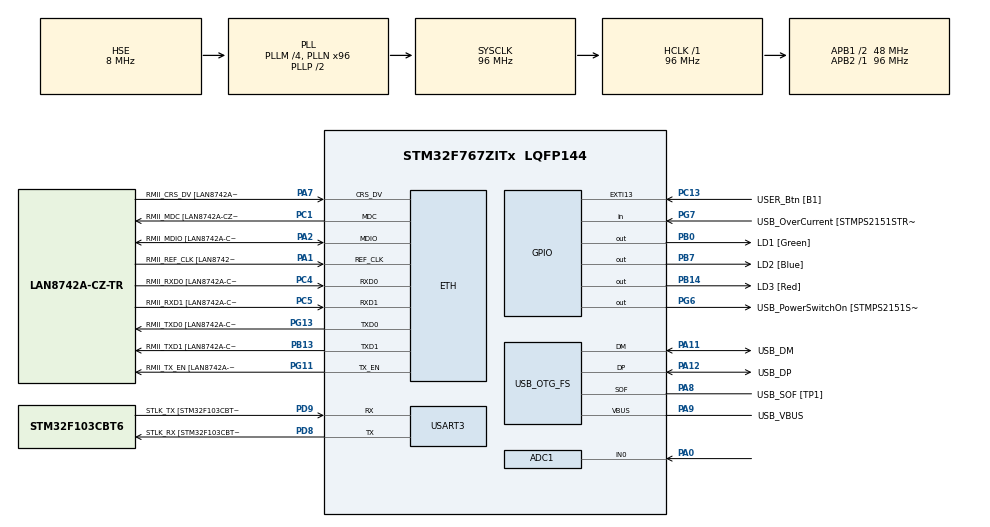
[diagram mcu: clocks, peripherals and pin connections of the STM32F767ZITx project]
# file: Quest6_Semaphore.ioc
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ADC1.Channel-0\#ChannelRegularConversion=ADC_CHANNEL_0
ADC1.NbrOfConversionFlag=1
ADC1.Rank-0\#ChannelRegularConversion=1
ADC1.SamplingTime-0\#ChannelRegularConversion=ADC_SAMPLETIME_3CYCLES
ADC1.master=1
ETH.MediaInterface=HAL_ETH_RMII_MODE
ETH.PHY_Name=LAN8742A_PHY_ADDRESS
ETH.PHY_Value=0
ETH.PhyAddress=0
FREERTOS.BinarySemaphores01=semStart,Dynamic,NULL,Depleted;semCalc,Dynamic,NULL,Depleted;semSave,Dynamic,NULL,Depleted;semSend,Dynamic,NULL,Depleted
FREERTOS.Tasks01=TaskADC,28,128,StartTaskADC,Default,NULL,Dynamic,NULL,NULL;TaskCalc,27,128,StartTaskCalc,Default,NULL,Dynamic,NULL,NULL;TaskSave,26,128,StartTaskSave,Default,NULL,Dynamic,NULL,NULL;TaskSend,25,128,StartTaskSend,Default,NULL,Dynamic,NULL,NULL
FREERTOS.configUSE_NEWLIB_REENTRANT=1
Mcu.Family=STM32F7
Mcu.Name=STM32F767ZITx
Mcu.Package=LQFP144
NVIC.EXTI15_10_IRQn=true\:5\:0\:false\:false\:true\:true\:true\:true\:true
NVIC.PriorityGroup=NVIC_PRIORITYGROUP_4
NVIC.TIM1_UP_TIM10_IRQn=true\:15\:0\:false\:false\:true\:false\:false\:true\:true
NVIC.TimeBase=TIM1_UP_TIM10_IRQn
NVIC.TimeBaseIP=TIM1
PA0/WKUP.Signal=ADCx_IN0
PA1.GPIO_Label=RMII_REF_CLK [LAN8742A-CZ-TR_REFCLK0]
PA1.Mode=RMII
PA1.Signal=ETH_REF_CLK
PA10.GPIO_Label=USB_ID
PA10.Signal=USB_OTG_FS_ID
PA11.GPIO_Label=USB_DM
PA11.Mode=Device_Only
PA11.Signal=USB_OTG_FS_DM
PA12.GPIO_Label=USB_DP
PA12.Mode=Device_Only
PA12.Signal=USB_OTG_FS_DP
PA13.GPIO_Label=TMS
PA13.Mode=Serial_Wire
PA13.Signal=SYS_JTMS-SWDIO
PA14.GPIO_Label=TCK
PA14.Mode=Serial_Wire
PA14.Signal=SYS_JTCK-SWCLK
PA2.GPIO_Label=RMII_MDIO [LAN8742A-CZ-TR_MDIO]
PA2.Mode=RMII
PA2.Signal=ETH_MDIO
PA7.GPIO_Label=RMII_CRS_DV [LAN8742A-CZ-TR_CRS_DV]
PA7.Mode=RMII
PA7.Signal=ETH_CRS_DV
PA8.GPIO_Label=USB_SOF [TP1]
PA8.Mode=Activate_SOF_FS
PA8.Signal=USB_OTG_FS_SOF
PA9.GPIO_Label=USB_VBUS
PA9.Mode=Activate_VBUS
PA9.Signal=USB_OTG_FS_VBUS
PB0.GPIO_Label=LD1 [Green]
PB0.Signal=GPIO_Output
PB13.GPIO_Label=RMII_TXD1 [LAN8742A-CZ-TR_TXD1]
PB13.Mode=RMII
PB13.Signal=ETH_TXD1
PB14.GPIO_Label=LD3 [Red]
PB14.Signal=GPIO_Output
PB3.GPIO_Label=SWO
PB3.Signal=SYS_JTDO-SWO
PB7.GPIO_Label=LD2 [Blue]
PB7.Signal=GPIO_Output
PC1.GPIO_Label=RMII_MDC [LAN8742A-CZ-TR_MDC]
PC1.Mode=RMII
PC1.Signal=ETH_MDC
PC13.GPIO_Label=USER_Btn [B1]
PC13.Signal=GPXTI13
PC14/OSC32_IN.Mode=LSE-External-Oscillator
PC14/OSC32_IN.Signal=RCC_OSC32_IN
PC15/OSC32_OUT.Mode=LSE-External-Oscillator
PC15/OSC32_OUT.Signal=RCC_OSC32_OUT
PC4.GPIO_Label=RMII_RXD0 [LAN8742A-CZ-TR_RXD0]
PC4.Mode=RMII
PC4.Signal=ETH_RXD0
PC5.GPIO_Label=RMII_RXD1 [LAN8742A-CZ-TR_RXD1]
PC5.Mode=RMII
PC5.Signal=ETH_RXD1
PD8.GPIO_Label=STLK_RX [STM32F103CBT6_PA3]
PD8.Mode=Asynchronous
PD8.Signal=USART3_TX
PD9.GPIO_Label=STLK_TX [STM32F103CBT6_PA2]
PD9.Mode=Asynchronous
PD9.Signal=USART3_RX
PG11.GPIO_Label=RMII_TX_EN [LAN8742A-CZ-TR_TXEN]
PG11.Mode=RMII
PG11.Signal=ETH_TX_EN
PG13.GPIO_Label=RMII_TXD0 [LAN8742A-CZ-TR_TXD0]
PG13.Mode=RMII
PG13.Signal=ETH_TXD0
PG6.GPIO_Label=USB_PowerSwitchOn [STMPS2151STR_EN]
PG6.Signal=GPIO_Output
PG7.GPIO_Label=USB_OverCurrent [STMPS2151STR_FAULT]
PG7.Signal=GPIO_Input
PH0/OSC_IN.GPIO_Label=MCO [STM32F103CBT6_PA8]
PH0/OSC_IN.Mode=HSE-External-Oscillator
PH0/OSC_IN.Signal=RCC_OSC_IN
PH1/OSC_OUT.Mode=HSE-External-Oscillator
PH1/OSC_OUT.Signal=RCC_OSC_OUT
ProjectManager.HeapSize=0x200
ProjectManager.StackSize=0x400
ProjectManager.TargetToolchain=STM32CubeIDE
RCC.48MHZClocksFreq_Value=24000000
RCC.AHBFreq_Value=96000000
RCC.APB1CLKDivider=RCC_HCLK_DIV2
RCC.APB1Freq_Value=48000000
RCC.APB1TimFreq_Value=96000000
RCC.APB2Freq_Value=96000000
RCC.APB2TimFreq_Value=96000000
RCC.CortexFreq_Value=96000000
RCC.HCLKFreq_Value=96000000
RCC.HSE_VALUE=8000000
RCC.HSI_VALUE=16000000
RCC.PLLM=4
RCC.PLLMUL=RCC_PLL_MUL9
RCC.PLLN=96
RCC.PLLQ=4
RCC.PRESCALERUSB=RCC_USBCLKSOURCE_PLL_DIV1_5
RCC.SYSCLKFreq_VALUE=96000000
RCC.SYSCLKSource=RCC_SYSCLKSOURCE_PLLCLK
RCC.SYSCLKSourceVirtual=RCC_SYSCLKSOURCE_PLLCLK
RCC.USBFreq_Value=48000000
RCC.VCOOutputFreq_Value=192000000
SH.ADCx_IN0.0=ADC1_IN0,IN0
USART3.VirtualMode-Asynchronous=VM_ASYNC
USB_OTG_FS.VirtualMode=Device_Only
VP_FREERTOS_VS_CMSIS_V2.Mode=CMSIS_V2
VP_SYS_VS_tim1.Mode=TIM1
board=NUCLEO-F767ZI

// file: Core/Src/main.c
/* USER CODE BEGIN Header */
/**
  ******************************************************************************
  * @file           : main.c
  * @brief          : Main program body
  ******************************************************************************
  * @attention
  *
  * Copyright (c) 2025 STMicroelectronics.
  * All rights reserved.
  *
  * This software is licensed under terms that can be found in the LICENSE file
  * in the root directory of this software component.
  * If no LICENSE file comes with this software, it is provided AS-IS.
  *
  ******************************************************************************
  */
/* USER CODE END Header */
#include "main.h"
#include "string.h"
#include "cmsis_os.h"

/* USER CODE BEGIN Includes */
#include <stdio.h>
/* USER CODE END Includes */

#if defined ( __ICCARM__ ) /*!< IAR Compiler */
#pragma location=0x2007c000
ETH_DMADescTypeDef  DMARxDscrTab[ETH_RX_DESC_CNT]; /* Ethernet Rx DMA Descriptors */
#pragma location=0x2007c0a0
ETH_DMADescTypeDef  DMATxDscrTab[ETH_TX_DESC_CNT]; /* Ethernet Tx DMA Descriptors */

#elif defined ( __CC_ARM )  /* MDK ARM Compiler */

__attribute__((at(0x2007c000))) ETH_DMADescTypeDef  DMARxDscrTab[ETH_RX_DESC_CNT]; /* Ethernet Rx DMA Descriptors */
__attribute__((at(0x2007c0a0))) ETH_DMADescTypeDef  DMATxDscrTab[ETH_TX_DESC_CNT]; /* Ethernet Tx DMA Descriptors */

#elif defined ( __GNUC__ ) /* GNU Compiler */

ETH_DMADescTypeDef DMARxDscrTab[ETH_RX_DESC_CNT] __attribute__((section(".RxDecripSection"))); /* Ethernet Rx DMA Descriptors */
ETH_DMADescTypeDef DMATxDscrTab[ETH_TX_DESC_CNT] __attribute__((section(".TxDecripSection")));   /* Ethernet Tx DMA Descriptors */
#endif

ETH_TxPacketConfig TxConfig;

ADC_HandleTypeDef hadc1;

ETH_HandleTypeDef heth;

UART_HandleTypeDef huart3;

PCD_HandleTypeDef hpcd_USB_OTG_FS;

/* Definitions for TaskADC */
osThreadId_t TaskADCHandle;
const osThreadAttr_t TaskADC_attributes = {
  .name = "TaskADC",
  .stack_size = 128 * 4,
  .priority = (osPriority_t) osPriorityNormal4,
};
/* Definitions for TaskCalc */
osThreadId_t TaskCalcHandle;
const osThreadAttr_t TaskCalc_attributes = {
  .name = "TaskCalc",
  .stack_size = 128 * 4,
  .priority = (osPriority_t) osPriorityNormal3,
};
/* Definitions for TaskSave */
osThreadId_t TaskSaveHandle;
const osThreadAttr_t TaskSave_attributes = {
  .name = "TaskSave",
  .stack_size = 128 * 4,
  .priority = (osPriority_t) osPriorityNormal2,
};
/* Definitions for TaskSend */
osThreadId_t TaskSendHandle;
const osThreadAttr_t TaskSend_attributes = {
  .name = "TaskSend",
  .stack_size = 128 * 4,
  .priority = (osPriority_t) osPriorityNormal1,
};
/* Definitions for semStart */
osSemaphoreId_t semStartHandle;
const osSemaphoreAttr_t semStart_attributes = {
  .name = "semStart"
};
/* Definitions for semCalc */
osSemaphoreId_t semCalcHandle;
const osSemaphoreAttr_t semCalc_attributes = {
  .name = "semCalc"
};
/* Definitions for semSave */
osSemaphoreId_t semSaveHandle;
const osSemaphoreAttr_t semSave_attributes = {
  .name = "semSave"
};
/* Definitions for semSend */
osSemaphoreId_t semSendHandle;
const osSemaphoreAttr_t semSend_attributes = {
  .name = "semSend"
};
/* USER CODE BEGIN PV */
uint16_t bufferADC [100] = {0};
double mediaADC [10] = {0};
double media = 0;

/* USER CODE END PV */

void SystemClock_Config(void);
static void MX_GPIO_Init(void);
static void MX_ETH_Init(void);
static void MX_USART3_UART_Init(void);
static void MX_USB_OTG_FS_PCD_Init(void);
static void MX_ADC1_Init(void);
void StartTaskADC(void *argument);
void StartTaskCalc(void *argument);
void StartTaskSave(void *argument);
void StartTaskSend(void *argument);

int main(void)
{

  /* MCU Configuration--------------------------------------------------------*/

  /* Reset of all peripherals, Initializes the Flash interface and the Systick. */
  HAL_Init();

  /* Configure the system clock */
  SystemClock_Config();

  /* Initialize all configured peripherals */
  MX_GPIO_Init();
  MX_ETH_Init();
  MX_USART3_UART_Init();
  MX_USB_OTG_FS_PCD_Init();
  MX_ADC1_Init();

  /* Init scheduler */
  osKernelInitialize();

  /* Create the semaphores(s) */
  /* creation of semStart */
  semStartHandle = osSemaphoreNew(1, 0, &semStart_attributes);

  /* creation of semCalc */
  semCalcHandle = osSemaphoreNew(1, 0, &semCalc_attributes);

  /* creation of semSave */
  semSaveHandle = osSemaphoreNew(1, 0, &semSave_attributes);

  /* creation of semSend */
  semSendHandle = osSemaphoreNew(1, 0, &semSend_attributes);

  /* Create the thread(s) */
  /* creation of TaskADC */
  TaskADCHandle = osThreadNew(StartTaskADC, NULL, &TaskADC_attributes);

  /* creation of TaskCalc */
  TaskCalcHandle = osThreadNew(StartTaskCalc, NULL, &TaskCalc_attributes);

  /* creation of TaskSave */
  TaskSaveHandle = osThreadNew(StartTaskSave, NULL, &TaskSave_attributes);

  /* creation of TaskSend */
  TaskSendHandle = osThreadNew(StartTaskSend, NULL, &TaskSend_attributes);

  /* Start scheduler */
  osKernelStart();

  /* We should never get here as control is now taken by the scheduler */

  /* Infinite loop */
  while (1)
  {

  }
}

void SystemClock_Config(void)
{
  RCC_OscInitTypeDef RCC_OscInitStruct = {0};
  RCC_ClkInitTypeDef RCC_ClkInitStruct = {0};

  /** Configure LSE Drive Capability
  */
  HAL_PWR_EnableBkUpAccess();

  /** Configure the main internal regulator output voltage
  */
  __HAL_RCC_PWR_CLK_ENABLE();
  __HAL_PWR_VOLTAGESCALING_CONFIG(PWR_REGULATOR_VOLTAGE_SCALE3);

  /** Initializes the RCC Oscillators according to the specified parameters
  * in the RCC_OscInitTypeDef structure.
  */
  RCC_OscInitStruct.OscillatorType = RCC_OSCILLATORTYPE_HSE;
  RCC_OscInitStruct.HSEState = RCC_HSE_ON;
  RCC_OscInitStruct.PLL.PLLState = RCC_PLL_ON;
  RCC_OscInitStruct.PLL.PLLSource = RCC_PLLSOURCE_HSE;
  RCC_OscInitStruct.PLL.PLLM = 4;
  RCC_OscInitStruct.PLL.PLLN = 96;
  RCC_OscInitStruct.PLL.PLLP = RCC_PLLP_DIV2;
  RCC_OscInitStruct.PLL.PLLQ = 4;
  RCC_OscInitStruct.PLL.PLLR = 2;
  if (HAL_RCC_OscConfig(&RCC_OscInitStruct) != HAL_OK)
  {
    Error_Handler();
  }

  /** Activate the Over-Drive mode
  */
  if (HAL_PWREx_EnableOverDrive() != HAL_OK)
  {
    Error_Handler();
  }

  /** Initializes the CPU, AHB and APB buses clocks
  */
  RCC_ClkInitStruct.ClockType = RCC_CLOCKTYPE_HCLK|RCC_CLOCKTYPE_SYSCLK
                              |RCC_CLOCKTYPE_PCLK1|RCC_CLOCKTYPE_PCLK2;
  RCC_ClkInitStruct.SYSCLKSource = RCC_SYSCLKSOURCE_PLLCLK;
  RCC_ClkInitStruct.AHBCLKDivider = RCC_SYSCLK_DIV1;
  RCC_ClkInitStruct.APB1CLKDivider = RCC_HCLK_DIV2;
  RCC_ClkInitStruct.APB2CLKDivider = RCC_HCLK_DIV1;

  if (HAL_RCC_ClockConfig(&RCC_ClkInitStruct, FLASH_LATENCY_3) != HAL_OK)
  {
    Error_Handler();
  }
}

static void MX_ADC1_Init(void)
{

  ADC_ChannelConfTypeDef sConfig = {0};

  /** Configure the global features of the ADC (Clock, Resolution, Data Alignment and number of conversion)
  */
  hadc1.Instance = ADC1;
  hadc1.Init.ClockPrescaler = ADC_CLOCK_SYNC_PCLK_DIV4;
  hadc1.Init.Resolution = ADC_RESOLUTION_12B;
  hadc1.Init.ScanConvMode = ADC_SCAN_DISABLE;
  hadc1.Init.ContinuousConvMode = DISABLE;
  hadc1.Init.DiscontinuousConvMode = DISABLE;
  hadc1.Init.ExternalTrigConvEdge = ADC_EXTERNALTRIGCONVEDGE_NONE;
  hadc1.Init.ExternalTrigConv = ADC_SOFTWARE_START;
  hadc1.Init.DataAlign = ADC_DATAALIGN_RIGHT;
  hadc1.Init.NbrOfConversion = 1;
  hadc1.Init.DMAContinuousRequests = DISABLE;
  hadc1.Init.EOCSelection = ADC_EOC_SINGLE_CONV;
  if (HAL_ADC_Init(&hadc1) != HAL_OK)
  {
    Error_Handler();
  }

  /** Configure for the selected ADC regular channel its corresponding rank in the sequencer and its sample time.
  */
  sConfig.Channel = ADC_CHANNEL_0;
  sConfig.Rank = ADC_REGULAR_RANK_1;
  sConfig.SamplingTime = ADC_SAMPLETIME_3CYCLES;
  if (HAL_ADC_ConfigChannel(&hadc1, &sConfig) != HAL_OK)
  {
    Error_Handler();
  }

}

static void MX_ETH_Init(void)
{

   static uint8_t MACAddr[6];

  heth.Instance = ETH;
  MACAddr[0] = 0x00;
  MACAddr[1] = 0x80;
  MACAddr[2] = 0xE1;
  MACAddr[3] = 0x00;
  MACAddr[4] = 0x00;
  MACAddr[5] = 0x00;
  heth.Init.MACAddr = &MACAddr[0];
  heth.Init.MediaInterface = HAL_ETH_RMII_MODE;
  heth.Init.TxDesc = DMATxDscrTab;
  heth.Init.RxDesc = DMARxDscrTab;
  heth.Init.RxBuffLen = 1524;

  if (HAL_ETH_Init(&heth) != HAL_OK)
  {
    Error_Handler();
  }

  memset(&TxConfig, 0 , sizeof(ETH_TxPacketConfig));
  TxConfig.Attributes = ETH_TX_PACKETS_FEATURES_CSUM | ETH_TX_PACKETS_FEATURES_CRCPAD;
  TxConfig.ChecksumCtrl = ETH_CHECKSUM_IPHDR_PAYLOAD_INSERT_PHDR_CALC;
  TxConfig.CRCPadCtrl = ETH_CRC_PAD_INSERT;

}

static void MX_USART3_UART_Init(void)
{

  huart3.Instance = USART3;
  huart3.Init.BaudRate = 115200;
  huart3.Init.WordLength = UART_WORDLENGTH_8B;
  huart3.Init.StopBits = UART_STOPBITS_1;
  huart3.Init.Parity = UART_PARITY_NONE;
  huart3.Init.Mode = UART_MODE_TX_RX;
  huart3.Init.HwFlowCtl = UART_HWCONTROL_NONE;
  huart3.Init.OverSampling = UART_OVERSAMPLING_16;
  huart3.Init.OneBitSampling = UART_ONE_BIT_SAMPLE_DISABLE;
  huart3.AdvancedInit.AdvFeatureInit = UART_ADVFEATURE_NO_INIT;
  if (HAL_UART_Init(&huart3) != HAL_OK)
  {
    Error_Handler();
  }

}

static void MX_USB_OTG_FS_PCD_Init(void)
{

  hpcd_USB_OTG_FS.Instance = USB_OTG_FS;
  hpcd_USB_OTG_FS.Init.dev_endpoints = 6;
  hpcd_USB_OTG_FS.Init.speed = PCD_SPEED_FULL;
  hpcd_USB_OTG_FS.Init.dma_enable = DISABLE;
  hpcd_USB_OTG_FS.Init.phy_itface = PCD_PHY_EMBEDDED;
  hpcd_USB_OTG_FS.Init.Sof_enable = ENABLE;
  hpcd_USB_OTG_FS.Init.low_power_enable = DISABLE;
  hpcd_USB_OTG_FS.Init.lpm_enable = DISABLE;
  hpcd_USB_OTG_FS.Init.vbus_sensing_enable = ENABLE;
  hpcd_USB_OTG_FS.Init.use_dedicated_ep1 = DISABLE;
  if (HAL_PCD_Init(&hpcd_USB_OTG_FS) != HAL_OK)
  {
    Error_Handler();
  }

}

static void MX_GPIO_Init(void)
{
  GPIO_InitTypeDef GPIO_InitStruct = {0};

  /* GPIO Ports Clock Enable */
  __HAL_RCC_GPIOC_CLK_ENABLE();
  __HAL_RCC_GPIOH_CLK_ENABLE();
  __HAL_RCC_GPIOA_CLK_ENABLE();
  __HAL_RCC_GPIOB_CLK_ENABLE();
  __HAL_RCC_GPIOD_CLK_ENABLE();
  __HAL_RCC_GPIOG_CLK_ENABLE();

  /*Configure GPIO pin Output Level */
  HAL_GPIO_WritePin(GPIOB, LD1_Pin|LD3_Pin|LD2_Pin, GPIO_PIN_RESET);

  /*Configure GPIO pin Output Level */
  HAL_GPIO_WritePin(USB_PowerSwitchOn_GPIO_Port, USB_PowerSwitchOn_Pin, GPIO_PIN_RESET);

  /*Configure GPIO pin : USER_Btn_Pin */
  GPIO_InitStruct.Pin = USER_Btn_Pin;
  GPIO_InitStruct.Mode = GPIO_MODE_IT_RISING;
  GPIO_InitStruct.Pull = GPIO_NOPULL;
  HAL_GPIO_Init(USER_Btn_GPIO_Port, &GPIO_InitStruct);

  /*Configure GPIO pins : LD1_Pin LD3_Pin LD2_Pin */
  GPIO_InitStruct.Pin = LD1_Pin|LD3_Pin|LD2_Pin;
  GPIO_InitStruct.Mode = GPIO_MODE_OUTPUT_PP;
  GPIO_InitStruct.Pull = GPIO_NOPULL;
  GPIO_InitStruct.Speed = GPIO_SPEED_FREQ_LOW;
  HAL_GPIO_Init(GPIOB, &GPIO_InitStruct);

  /*Configure GPIO pin : USB_PowerSwitchOn_Pin */
  GPIO_InitStruct.Pin = USB_PowerSwitchOn_Pin;
  GPIO_InitStruct.Mode = GPIO_MODE_OUTPUT_PP;
  GPIO_InitStruct.Pull = GPIO_NOPULL;
  GPIO_InitStruct.Speed = GPIO_SPEED_FREQ_LOW;
  HAL_GPIO_Init(USB_PowerSwitchOn_GPIO_Port, &GPIO_InitStruct);

  /*Configure GPIO pin : USB_OverCurrent_Pin */
  GPIO_InitStruct.Pin = USB_OverCurrent_Pin;
  GPIO_InitStruct.Mode = GPIO_MODE_INPUT;
  GPIO_InitStruct.Pull = GPIO_NOPULL;
  HAL_GPIO_Init(USB_OverCurrent_GPIO_Port, &GPIO_InitStruct);

  /* EXTI interrupt init*/
  HAL_NVIC_SetPriority(EXTI15_10_IRQn, 5, 0);
  HAL_NVIC_EnableIRQ(EXTI15_10_IRQn);

}

/* USER CODE BEGIN 4 */
void HAL_GPIO_EXTI_Callback(uint16_t pin)
{
	if (pin == USER_Btn_Pin)
	{
		// O botão libera o semaforo para inicio do ciclo
		osSemaphoreRelease(semStartHandle);
	}
}

double conversor_adc(uint16_t x, float in_min, float in_max, float out_min, float out_max)
{
    return (x - in_min) * (out_max - out_min) / (in_max - in_min) + out_min;
}
/* USER CODE END 4 */

void StartTaskADC(void *argument)
{
  /* USER CODE BEGIN 5 */
	uint16_t ADC_valor;
  /* Infinite loop */
  for(;;)
  {
	osSemaphoreAcquire(semStartHandle, osWaitForever);

	for (int i=0; i<100; i++)
	{
		HAL_ADC_Start(&hadc1);
		HAL_ADC_PollForConversion(&hadc1, 100);
		ADC_valor =  HAL_ADC_GetValue(&hadc1);
		bufferADC[i] = conversor_adc(ADC_valor, 0, 4095, 0, 3.3);
		osDelay(100);

	}
	 osSemaphoreRelease(semCalcHandle);

    osDelay(1000);
  }
  /* USER CODE END 5 */
}

void StartTaskCalc(void *argument)
{
  /* USER CODE BEGIN StartTaskCalc */
	double soma = 0;
  /* Infinite loop */
  for(;;)
  {
	osSemaphoreAcquire(semCalcHandle, osWaitForever);

	for (int i= 0; i<100; i++)
	{
		soma += bufferADC[i];
	}

	media = soma/100;
	soma = 0;

	osSemaphoreRelease(semSaveHandle);

    osDelay(1000);
  }
  /* USER CODE END StartTaskCalc */
}

void StartTaskSave(void *argument)
{
  /* USER CODE BEGIN StartTaskSave */
	static uint8_t  indice;
  /* Infinite loop */
  for(;;)
  {
	osSemaphoreAcquire(semSaveHandle, osWaitForever);
	mediaADC[indice] = media;
	indice = (indice + 1) % 10;

	osSemaphoreRelease(semSendHandle);
    osDelay(1000);
  }
  /* USER CODE END StartTaskSave */
}

void StartTaskSend(void *argument)
{
  /* USER CODE BEGIN StartTaskSend */
	char send[50];
  /* Infinite loop */
  for(;;)
  {
	osSemaphoreAcquire(semSendHandle,osWaitForever);

	snprintf(send,50,"Media Enviada : %.2lf", media);
	HAL_UART_Transmit(&huart3,(uint8_t *)send, strlen(send),100);
    osDelay(1000);
  }
  /* USER CODE END StartTaskSend */
}

void HAL_TIM_PeriodElapsedCallback(TIM_HandleTypeDef *htim)
{
  if (htim->Instance == TIM1)
  {
    HAL_IncTick();
  }
}

void Error_Handler(void)
{
  __disable_irq();
  while (1)
  {
  }
}
